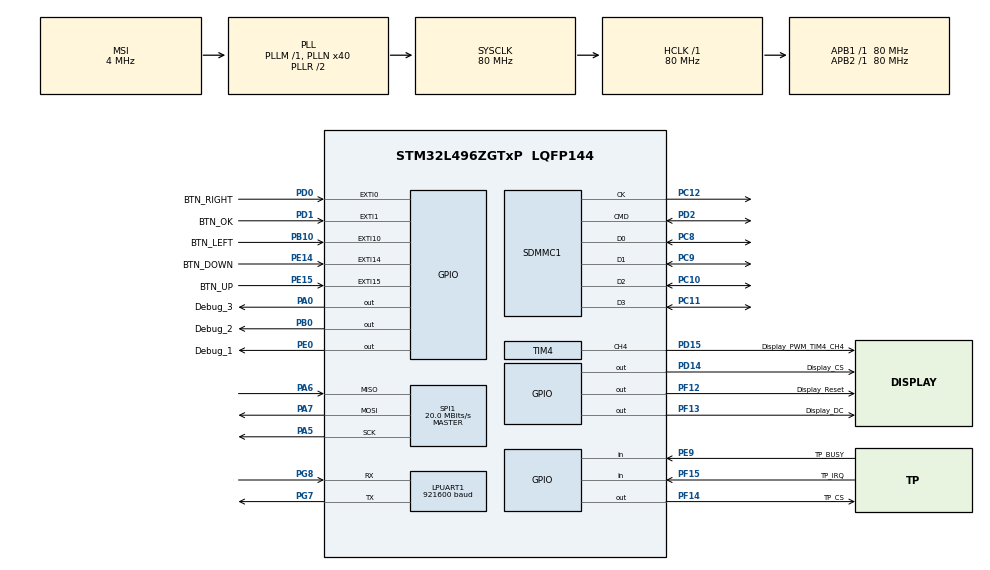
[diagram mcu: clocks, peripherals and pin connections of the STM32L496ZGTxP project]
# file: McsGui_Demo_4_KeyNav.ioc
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ADC1.Channel-0\#ChannelRegularConversion=ADC_CHANNEL_VREFINT
ADC1.Channel-1\#ChannelRegularConversion=ADC_CHANNEL_TEMPSENSOR
ADC1.ContinuousConvMode=DISABLE
ADC1.DMAContinuousRequests=ENABLE
ADC1.ExternalTrigConv=ADC_EXTERNALTRIG_T3_TRGO
ADC1.NbrOfConversion=2
ADC1.NbrOfConversionFlag=1
ADC1.OffsetNumber-0\#ChannelRegularConversion=ADC_OFFSET_NONE
ADC1.OffsetNumber-1\#ChannelRegularConversion=ADC_OFFSET_NONE
ADC1.Overrun=ADC_OVR_DATA_OVERWRITTEN
ADC1.Rank-0\#ChannelRegularConversion=1
ADC1.Rank-1\#ChannelRegularConversion=2
ADC1.SamplingTime-0\#ChannelRegularConversion=ADC_SAMPLETIME_640CYCLES_5
ADC1.SamplingTime-1\#ChannelRegularConversion=ADC_SAMPLETIME_640CYCLES_5
ADC1.master=1
CRC.InputDataInversionMode=CRC_INPUTDATA_INVERSION_BYTE
CRC.OutputDataInversionMode=CRC_OUTPUTDATA_INVERSION_ENABLE
Dma.ADC1.0.Direction=DMA_PERIPH_TO_MEMORY
Dma.ADC1.0.Instance=DMA1_Channel1
Dma.ADC1.0.MemDataAlignment=DMA_MDATAALIGN_HALFWORD
Dma.ADC1.0.MemInc=DMA_MINC_ENABLE
Dma.ADC1.0.Mode=DMA_CIRCULAR
Dma.ADC1.0.PeriphDataAlignment=DMA_PDATAALIGN_HALFWORD
Dma.ADC1.0.PeriphInc=DMA_PINC_DISABLE
Dma.ADC1.0.Priority=DMA_PRIORITY_LOW
Dma.LPUART_RX.2.Direction=DMA_PERIPH_TO_MEMORY
Dma.LPUART_RX.2.Instance=DMA2_Channel7
Dma.LPUART_RX.2.MemDataAlignment=DMA_MDATAALIGN_BYTE
Dma.LPUART_RX.2.MemInc=DMA_MINC_ENABLE
Dma.LPUART_RX.2.Mode=DMA_NORMAL
Dma.LPUART_RX.2.PeriphDataAlignment=DMA_PDATAALIGN_BYTE
Dma.LPUART_RX.2.PeriphInc=DMA_PINC_DISABLE
Dma.LPUART_RX.2.Priority=DMA_PRIORITY_LOW
Dma.Request0=ADC1
Dma.Request1=SPI1_TX
Dma.Request2=LPUART_RX
Dma.Request3=SDMMC1_RX
Dma.SDMMC1_RX.3.Direction=DMA_PERIPH_TO_MEMORY
Dma.SDMMC1_RX.3.Instance=DMA2_Channel4
Dma.SDMMC1_RX.3.MemDataAlignment=DMA_MDATAALIGN_WORD
Dma.SDMMC1_RX.3.MemInc=DMA_MINC_ENABLE
Dma.SDMMC1_RX.3.Mode=DMA_NORMAL
Dma.SDMMC1_RX.3.PeriphDataAlignment=DMA_PDATAALIGN_WORD
Dma.SDMMC1_RX.3.PeriphInc=DMA_PINC_DISABLE
Dma.SDMMC1_RX.3.Priority=DMA_PRIORITY_LOW
Dma.SPI1_TX.1.Direction=DMA_MEMORY_TO_PERIPH
Dma.SPI1_TX.1.Instance=DMA1_Channel3
Dma.SPI1_TX.1.MemDataAlignment=DMA_MDATAALIGN_BYTE
Dma.SPI1_TX.1.MemInc=DMA_MINC_ENABLE
Dma.SPI1_TX.1.Mode=DMA_NORMAL
Dma.SPI1_TX.1.PeriphDataAlignment=DMA_PDATAALIGN_BYTE
Dma.SPI1_TX.1.PeriphInc=DMA_PINC_DISABLE
Dma.SPI1_TX.1.Priority=DMA_PRIORITY_LOW
LPUART1.BaudRate=921600
LPUART1.MSBFirstParam=UART_ADVFEATURE_MSBFIRST_DISABLE
LPUART1.WordLength=UART_WORDLENGTH_8B
Mcu.Family=STM32L4
Mcu.Name=STM32L496ZGTxP
Mcu.Package=LQFP144
NVIC.ADC1_2_IRQn=true\:0\:0\:false\:false\:true\:true\:true\:true
NVIC.DMA1_Channel1_IRQn=true\:0\:0\:false\:false\:true\:false\:true\:true
NVIC.DMA1_Channel3_IRQn=true\:0\:0\:false\:false\:true\:false\:true\:true
NVIC.DMA2_Channel4_IRQn=true\:0\:0\:false\:false\:true\:false\:true\:true
NVIC.DMA2_Channel7_IRQn=true\:0\:0\:false\:false\:true\:false\:true\:true
NVIC.PriorityGroup=NVIC_PRIORITYGROUP_4
NVIC.SDMMC1_IRQn=true\:0\:0\:false\:false\:true\:true\:true\:true
NVIC.SPI1_IRQn=true\:0\:0\:false\:false\:true\:true\:true\:true
PA0.GPIO_Label=Debug_3
PA0.Signal=GPIO_Output
PA13\ (JTMS/SWDIO).Mode=Trace_Asynchronous_SW
PA13\ (JTMS/SWDIO).Signal=SYS_JTMS-SWDIO
PA14\ (JTCK/SWCLK).Mode=Trace_Asynchronous_SW
PA14\ (JTCK/SWCLK).Signal=SYS_JTCK-SWCLK
PA5.Mode=Full_Duplex_Master
PA5.Signal=SPI1_SCK
PA6.Mode=Full_Duplex_Master
PA6.Signal=SPI1_MISO
PA7.Mode=Full_Duplex_Master
PA7.Signal=SPI1_MOSI
PB0.GPIO_Label=Debug_2
PB0.Signal=GPIO_Output
PB10.GPIO_Label=BTN_LEFT
PB10.GPIO_ModeDefaultEXTI=GPIO_MODE_IT_FALLING
PB10.GPIO_PuPd=GPIO_PULLUP
PB10.Signal=GPXTI10
PB3\ (JTDO/TRACESWO).Mode=Trace_Asynchronous_SW
PB3\ (JTDO/TRACESWO).Signal=SYS_JTDO-SWO
PC10.Mode=SD_4_bits_Wide_bus
PC10.Signal=SDMMC1_D2
PC11.Mode=SD_4_bits_Wide_bus
PC11.Signal=SDMMC1_D3
PC12.Mode=SD_4_bits_Wide_bus
PC12.Signal=SDMMC1_CK
PC14-OSC32_IN\ (PC14).Mode=LSE-External-Oscillator
PC14-OSC32_IN\ (PC14).Signal=RCC_OSC32_IN
PC15-OSC32_OUT\ (PC15).Mode=LSE-External-Oscillator
PC15-OSC32_OUT\ (PC15).Signal=RCC_OSC32_OUT
PC8.Mode=SD_4_bits_Wide_bus
PC8.Signal=SDMMC1_D0
PC9.Mode=SD_4_bits_Wide_bus
PC9.Signal=SDMMC1_D1
PD0.GPIO_Label=BTN_RIGHT
PD0.GPIO_ModeDefaultEXTI=GPIO_MODE_IT_FALLING
PD0.GPIO_PuPd=GPIO_PULLUP
PD0.Signal=GPXTI0
PD1.GPIO_Label=BTN_OK
PD1.GPIO_ModeDefaultEXTI=GPIO_MODE_IT_FALLING
PD1.GPIO_PuPd=GPIO_PULLUP
PD1.Signal=GPXTI1
PD14.GPIO_Label=Display_CS
PD14.Signal=GPIO_Output
PD15.GPIO_Label=Display_PWM_TIM4_CH4
PD15.Signal=S_TIM4_CH4
PD2.Mode=SD_4_bits_Wide_bus
PD2.Signal=SDMMC1_CMD
PE0.GPIO_Label=Debug_1
PE0.Signal=GPIO_Output
PE14.GPIO_Label=BTN_DOWN
PE14.GPIO_ModeDefaultEXTI=GPIO_MODE_IT_FALLING
PE14.GPIO_PuPd=GPIO_PULLUP
PE14.Signal=GPXTI14
PE15.GPIO_Label=BTN_UP
PE15.GPIO_ModeDefaultEXTI=GPIO_MODE_IT_FALLING
PE15.GPIO_PuPd=GPIO_PULLUP
PE15.Signal=GPXTI15
PE9.GPIO_Label=TP_BUSY
PE9.Signal=GPIO_Input
PF12.GPIO_Label=Display_Reset
PF12.Signal=GPIO_Output
PF13.GPIO_Label=Display_DC
PF13.Signal=GPIO_Output
PF14.GPIO_Label=TP_CS
PF14.Signal=GPIO_Output
PF15.GPIO_Label=TP_IRQ
PF15.Signal=GPIO_Input
PG7.Mode=Asynchronous
PG7.Signal=LPUART1_TX
PG8.Mode=Asynchronous
PG8.Signal=LPUART1_RX
ProjectManager.HeapSize=0x200
ProjectManager.StackSize=0x400
ProjectManager.TargetToolchain=STM32CubeIDE
RCC.ADCFreq_Value=48000000
RCC.AHBFreq_Value=80000000
RCC.APB1Freq_Value=80000000
RCC.APB1TimFreq_Value=80000000
RCC.APB2Freq_Value=80000000
RCC.APB2TimFreq_Value=80000000
RCC.CortexFreq_Value=80000000
RCC.HCLKFreq_Value=80000000
RCC.HSE_VALUE=8000000
RCC.HSI48_VALUE=48000000
RCC.HSI_VALUE=16000000
RCC.MSI_VALUE=4000000
RCC.PLLN=40
RCC.PLLSAI1N=24
RCC.RTCClockSelection=RCC_RTCCLKSOURCE_LSE
RCC.SYSCLKFreq_VALUE=80000000
RCC.SYSCLKSource=RCC_SYSCLKSOURCE_PLLCLK
RCC.USBFreq_Value=48000000
RCC.VCOOutputFreq_Value=160000000
RTC.Alarm-Alarm\ A=RTC_ALARM_A
RTC.Year=24
SDMMC1.ClockDiv=2
SDMMC1.ClockPowerSave=SDMMC_CLOCK_POWER_SAVE_ENABLE
SDMMC1.HardwareFlowControl=SDMMC_HARDWARE_FLOW_CONTROL_ENABLE
SH.S_TIM4_CH4.0=TIM4_CH4,PWM Generation4 CH4
SPI1.BaudRatePrescaler=SPI_BAUDRATEPRESCALER_4
SPI1.CalculateBaudRate=20.0 MBits/s
SPI1.DataSize=SPI_DATASIZE_8BIT
SPI1.Direction=SPI_DIRECTION_2LINES
SPI1.Mode=SPI_MODE_MASTER
SPI1.VirtualType=VM_MASTER
TIM3.Period=62499
TIM3.Prescaler=1279
TIM3.TIM_MasterOutputTrigger=TIM_TRGO_UPDATE
TIM4.Channel-PWM\ Generation4\ CH4=TIM_CHANNEL_4
TIM4.ClearInputSource=TIM_CLEARINPUTSOURCE_OCREFCLR
TIM4.Period=9500
TIM4.Prescaler=16
TIM4.Pulse-PWM\ Generation4\ CH4=100
VP_ADC1_TempSens_Input.Mode=IN-TempSens
VP_ADC1_Vref_Input.Mode=IN-Vrefint
VP_CRC_VS_CRC.Mode=CRC_Activate
VP_RTC_VS_RTC_Activate.Mode=RTC_Enabled
VP_RTC_VS_RTC_Alarm_A_Intern.Mode=Alarm A
VP_RTC_VS_RTC_Calendar.Mode=RTC_Calendar
VP_TIM3_VS_ClockSourceINT.Mode=Internal
VREF+.Mode=InternalMode
VREF+.Signal=VREFBUF_OUT
board=custom

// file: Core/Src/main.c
/* USER CODE BEGIN Header */
/**
  ******************************************************************************
  * @file           : main.c
  * @brief          : Main program body
  ******************************************************************************
  * @attention
  *
  * Copyright (c) 2024 STMicroelectronics.
  * All rights reserved.
  *
  * This software is licensed under terms that can be found in the LICENSE file
  * in the root directory of this software component.
  * If no LICENSE file comes with this software, it is provided AS-IS.
  *
  ******************************************************************************
  */
/* USER CODE END Header */
#include "main.h"

/* USER CODE BEGIN Includes */
#include <time.h>

#include "gui_app.h"
/* USER CODE END Includes */

/* USER CODE BEGIN PD */
#define USE_CUSTOM_SD_INIT

#define VREFINT 1.21f /* Internal voltage reference value (V) */
#define ADCMAX 4095.0f /* (2^12)-1 Maximum ADC value */

#define V25 0.76f /* V25 (V) */
#define AVG_SLOPE 0.0025f /* Average slope (V/deg) */
/* USER CODE END PD */

ADC_HandleTypeDef hadc1;
DMA_HandleTypeDef hdma_adc1;

CRC_HandleTypeDef hcrc;

UART_HandleTypeDef hlpuart1;
DMA_HandleTypeDef hdma_lpuart_rx;

RTC_HandleTypeDef hrtc;

SD_HandleTypeDef hsd1;
DMA_HandleTypeDef hdma_sdmmc1_rx;

SPI_HandleTypeDef hspi1;
DMA_HandleTypeDef hdma_spi1_tx;

TIM_HandleTypeDef htim3;
TIM_HandleTypeDef htim4;

/* USER CODE BEGIN PV */
SPI_HandleTypeDef *g_p_displaySPI = &hspi1;
TIM_HandleTypeDef *g_p_displayBacklightPWMTimer = &htim4;
/* USER CODE END PV */

void SystemClock_Config(void);
void PeriphCommonClock_Config(void);
static void MX_GPIO_Init(void);
static void MX_DMA_Init(void);
static void MX_LPUART1_UART_Init(void);
static void MX_CRC_Init(void);
static void MX_ADC1_Init(void);
static void MX_TIM3_Init(void);
static void MX_RTC_Init(void);
static void MX_SPI1_Init(void);
static void MX_TIM4_Init(void);
static void MX_SDMMC1_SD_Init(void);

/* USER CODE BEGIN 0 */
static volatile uint16_t adcBuffer[2];
volatile bool m_adcReady = false;
volatile bool m_updateDateTime = false;
/* USER CODE END 0 */

int main(void)
{

  /* MCU Configuration--------------------------------------------------------*/

  /* Reset of all peripherals, Initializes the Flash interface and the Systick. */
  HAL_Init();

  /* Configure the system clock */
  SystemClock_Config();

  /* Configure the peripherals common clocks */
  PeriphCommonClock_Config();

  /* Initialize all configured peripherals */
  MX_GPIO_Init();
  MX_DMA_Init();
  MX_LPUART1_UART_Init();
  MX_CRC_Init();
  MX_ADC1_Init();
  MX_TIM3_Init();
  MX_RTC_Init();
  MX_SPI1_Init();
  MX_TIM4_Init();
  MX_SDMMC1_SD_Init();
  /* USER CODE BEGIN 2 */
  HAL_ADCEx_Calibration_Start(&hadc1, ADC_SINGLE_ENDED);
  HAL_ADC_Start_DMA(&hadc1, (uint32_t *)adcBuffer, 2);
  HAL_TIM_Base_Start(&htim3);

  gui_app_start();

  /* USER CODE END 2 */

  /* Infinite loop */
  while (1)
  {

  }
}

void SystemClock_Config(void)
{
  RCC_OscInitTypeDef RCC_OscInitStruct = {0};
  RCC_ClkInitTypeDef RCC_ClkInitStruct = {0};

  /** Configure the main internal regulator output voltage
  */
  if (HAL_PWREx_ControlVoltageScaling(PWR_REGULATOR_VOLTAGE_SCALE1) != HAL_OK)
  {
    Error_Handler();
  }

  /** Configure LSE Drive Capability
  */
  HAL_PWR_EnableBkUpAccess();
  __HAL_RCC_LSEDRIVE_CONFIG(RCC_LSEDRIVE_LOW);

  /** Initializes the RCC Oscillators according to the specified parameters
  * in the RCC_OscInitTypeDef structure.
  */
  RCC_OscInitStruct.OscillatorType = RCC_OSCILLATORTYPE_LSE|RCC_OSCILLATORTYPE_MSI;
  RCC_OscInitStruct.LSEState = RCC_LSE_ON;
  RCC_OscInitStruct.MSIState = RCC_MSI_ON;
  RCC_OscInitStruct.MSICalibrationValue = 0;
  RCC_OscInitStruct.MSIClockRange = RCC_MSIRANGE_6;
  RCC_OscInitStruct.PLL.PLLState = RCC_PLL_ON;
  RCC_OscInitStruct.PLL.PLLSource = RCC_PLLSOURCE_MSI;
  RCC_OscInitStruct.PLL.PLLM = 1;
  RCC_OscInitStruct.PLL.PLLN = 40;
  RCC_OscInitStruct.PLL.PLLP = RCC_PLLP_DIV2;
  RCC_OscInitStruct.PLL.PLLQ = RCC_PLLQ_DIV2;
  RCC_OscInitStruct.PLL.PLLR = RCC_PLLR_DIV2;
  if (HAL_RCC_OscConfig(&RCC_OscInitStruct) != HAL_OK)
  {
    Error_Handler();
  }

  /** Initializes the CPU, AHB and APB buses clocks
  */
  RCC_ClkInitStruct.ClockType = RCC_CLOCKTYPE_HCLK|RCC_CLOCKTYPE_SYSCLK
                              |RCC_CLOCKTYPE_PCLK1|RCC_CLOCKTYPE_PCLK2;
  RCC_ClkInitStruct.SYSCLKSource = RCC_SYSCLKSOURCE_PLLCLK;
  RCC_ClkInitStruct.AHBCLKDivider = RCC_SYSCLK_DIV1;
  RCC_ClkInitStruct.APB1CLKDivider = RCC_HCLK_DIV1;
  RCC_ClkInitStruct.APB2CLKDivider = RCC_HCLK_DIV1;

  if (HAL_RCC_ClockConfig(&RCC_ClkInitStruct, FLASH_LATENCY_4) != HAL_OK)
  {
    Error_Handler();
  }
}

void PeriphCommonClock_Config(void)
{
  RCC_PeriphCLKInitTypeDef PeriphClkInit = {0};

  /** Initializes the peripherals clock
  */
  PeriphClkInit.PeriphClockSelection = RCC_PERIPHCLK_SDMMC1|RCC_PERIPHCLK_ADC;
  PeriphClkInit.AdcClockSelection = RCC_ADCCLKSOURCE_PLLSAI1;
  PeriphClkInit.Sdmmc1ClockSelection = RCC_SDMMC1CLKSOURCE_PLLSAI1;
  PeriphClkInit.PLLSAI1.PLLSAI1Source = RCC_PLLSOURCE_MSI;
  PeriphClkInit.PLLSAI1.PLLSAI1M = 1;
  PeriphClkInit.PLLSAI1.PLLSAI1N = 24;
  PeriphClkInit.PLLSAI1.PLLSAI1P = RCC_PLLP_DIV2;
  PeriphClkInit.PLLSAI1.PLLSAI1Q = RCC_PLLQ_DIV2;
  PeriphClkInit.PLLSAI1.PLLSAI1R = RCC_PLLR_DIV2;
  PeriphClkInit.PLLSAI1.PLLSAI1ClockOut = RCC_PLLSAI1_48M2CLK|RCC_PLLSAI1_ADC1CLK;
  if (HAL_RCCEx_PeriphCLKConfig(&PeriphClkInit) != HAL_OK)
  {
    Error_Handler();
  }
}

static void MX_ADC1_Init(void)
{

  ADC_MultiModeTypeDef multimode = {0};
  ADC_ChannelConfTypeDef sConfig = {0};

  /** Common config
  */
  hadc1.Instance = ADC1;
  hadc1.Init.ClockPrescaler = ADC_CLOCK_ASYNC_DIV1;
  hadc1.Init.Resolution = ADC_RESOLUTION_12B;
  hadc1.Init.DataAlign = ADC_DATAALIGN_RIGHT;
  hadc1.Init.ScanConvMode = ADC_SCAN_ENABLE;
  hadc1.Init.EOCSelection = ADC_EOC_SINGLE_CONV;
  hadc1.Init.LowPowerAutoWait = DISABLE;
  hadc1.Init.ContinuousConvMode = DISABLE;
  hadc1.Init.NbrOfConversion = 2;
  hadc1.Init.DiscontinuousConvMode = DISABLE;
  hadc1.Init.ExternalTrigConv = ADC_EXTERNALTRIG_T3_TRGO;
  hadc1.Init.ExternalTrigConvEdge = ADC_EXTERNALTRIGCONVEDGE_RISING;
  hadc1.Init.DMAContinuousRequests = ENABLE;
  hadc1.Init.Overrun = ADC_OVR_DATA_OVERWRITTEN;
  hadc1.Init.OversamplingMode = DISABLE;
  if (HAL_ADC_Init(&hadc1) != HAL_OK)
  {
    Error_Handler();
  }

  /** Configure the ADC multi-mode
  */
  multimode.Mode = ADC_MODE_INDEPENDENT;
  if (HAL_ADCEx_MultiModeConfigChannel(&hadc1, &multimode) != HAL_OK)
  {
    Error_Handler();
  }

  /** Configure Regular Channel
  */
  sConfig.Channel = ADC_CHANNEL_VREFINT;
  sConfig.Rank = ADC_REGULAR_RANK_1;
  sConfig.SamplingTime = ADC_SAMPLETIME_640CYCLES_5;
  sConfig.SingleDiff = ADC_SINGLE_ENDED;
  sConfig.OffsetNumber = ADC_OFFSET_NONE;
  sConfig.Offset = 0;
  if (HAL_ADC_ConfigChannel(&hadc1, &sConfig) != HAL_OK)
  {
    Error_Handler();
  }

  /** Configure Regular Channel
  */
  sConfig.Channel = ADC_CHANNEL_TEMPSENSOR;
  sConfig.Rank = ADC_REGULAR_RANK_2;
  if (HAL_ADC_ConfigChannel(&hadc1, &sConfig) != HAL_OK)
  {
    Error_Handler();
  }

}

static void MX_CRC_Init(void)
{

  hcrc.Instance = CRC;
  hcrc.Init.DefaultPolynomialUse = DEFAULT_POLYNOMIAL_ENABLE;
  hcrc.Init.DefaultInitValueUse = DEFAULT_INIT_VALUE_ENABLE;
  hcrc.Init.InputDataInversionMode = CRC_INPUTDATA_INVERSION_BYTE;
  hcrc.Init.OutputDataInversionMode = CRC_OUTPUTDATA_INVERSION_ENABLE;
  hcrc.InputDataFormat = CRC_INPUTDATA_FORMAT_BYTES;
  if (HAL_CRC_Init(&hcrc) != HAL_OK)
  {
    Error_Handler();
  }

}

static void MX_LPUART1_UART_Init(void)
{

  hlpuart1.Instance = LPUART1;
  hlpuart1.Init.BaudRate = 921600;
  hlpuart1.Init.WordLength = UART_WORDLENGTH_8B;
  hlpuart1.Init.StopBits = UART_STOPBITS_1;
  hlpuart1.Init.Parity = UART_PARITY_NONE;
  hlpuart1.Init.Mode = UART_MODE_TX_RX;
  hlpuart1.Init.HwFlowCtl = UART_HWCONTROL_NONE;
  hlpuart1.Init.OneBitSampling = UART_ONE_BIT_SAMPLE_DISABLE;
  hlpuart1.AdvancedInit.AdvFeatureInit = UART_ADVFEATURE_NO_INIT;
  if (HAL_UART_Init(&hlpuart1) != HAL_OK)
  {
    Error_Handler();
  }

}

static void MX_RTC_Init(void)
{

  RTC_TimeTypeDef sTime = {0};
  RTC_DateTypeDef sDate = {0};
  RTC_AlarmTypeDef sAlarm = {0};

  /** Initialize RTC Only
  */
  hrtc.Instance = RTC;
  hrtc.Init.HourFormat = RTC_HOURFORMAT_24;
  hrtc.Init.AsynchPrediv = 127;
  hrtc.Init.SynchPrediv = 255;
  hrtc.Init.OutPut = RTC_OUTPUT_DISABLE;
  hrtc.Init.OutPutRemap = RTC_OUTPUT_REMAP_NONE;
  hrtc.Init.OutPutPolarity = RTC_OUTPUT_POLARITY_HIGH;
  hrtc.Init.OutPutType = RTC_OUTPUT_TYPE_OPENDRAIN;
  if (HAL_RTC_Init(&hrtc) != HAL_OK)
  {
    Error_Handler();
  }

  /** Initialize RTC and set the Time and Date
  */
  sTime.Hours = 0x0;
  sTime.Minutes = 0x0;
  sTime.Seconds = 0x0;
  sTime.DayLightSaving = RTC_DAYLIGHTSAVING_NONE;
  sTime.StoreOperation = RTC_STOREOPERATION_RESET;
  if (HAL_RTC_SetTime(&hrtc, &sTime, RTC_FORMAT_BCD) != HAL_OK)
  {
    Error_Handler();
  }
  sDate.WeekDay = RTC_WEEKDAY_MONDAY;
  sDate.Month = RTC_MONTH_JANUARY;
  sDate.Date = 0x1;
  sDate.Year = 0x24;

  if (HAL_RTC_SetDate(&hrtc, &sDate, RTC_FORMAT_BCD) != HAL_OK)
  {
    Error_Handler();
  }

  /** Enable the Alarm A
  */
  sAlarm.AlarmTime.Hours = 0x0;
  sAlarm.AlarmTime.Minutes = 0x0;
  sAlarm.AlarmTime.Seconds = 0x0;
  sAlarm.AlarmTime.SubSeconds = 0x0;
  sAlarm.AlarmTime.DayLightSaving = RTC_DAYLIGHTSAVING_NONE;
  sAlarm.AlarmTime.StoreOperation = RTC_STOREOPERATION_RESET;
  sAlarm.AlarmMask = RTC_ALARMMASK_NONE;
  sAlarm.AlarmSubSecondMask = RTC_ALARMSUBSECONDMASK_ALL;
  sAlarm.AlarmDateWeekDaySel = RTC_ALARMDATEWEEKDAYSEL_DATE;
  sAlarm.AlarmDateWeekDay = 0x1;
  sAlarm.Alarm = RTC_ALARM_A;
  if (HAL_RTC_SetAlarm(&hrtc, &sAlarm, RTC_FORMAT_BCD) != HAL_OK)
  {
    Error_Handler();
  }

}

static void MX_SDMMC1_SD_Init(void)
{

  /* USER CODE BEGIN SDMMC1_Init 0 */
#ifndef USE_DISPLAY_AND_SD_CARD
  return;
#endif /* USE_DISPLAY_AND_SD_CARD */
  /* USER CODE END SDMMC1_Init 0 */

  /* USER CODE BEGIN SDMMC1_Init 1 */
#ifdef USE_CUSTOM_SD_INIT

    hsd1.Instance = SDMMC1;
    hsd1.Init.ClockEdge = SDMMC_CLOCK_EDGE_RISING;
    hsd1.Init.ClockBypass = SDMMC_CLOCK_BYPASS_DISABLE;
    hsd1.Init.ClockPowerSave = SDMMC_CLOCK_POWER_SAVE_ENABLE;
    hsd1.Init.BusWide = SDMMC_BUS_WIDE_1B;
    hsd1.Init.HardwareFlowControl = SDMMC_HARDWARE_FLOW_CONTROL_ENABLE;
    hsd1.Init.ClockDiv = 0;
    if (HAL_SD_Init(&hsd1) != HAL_OK)
    {
      Error_Handler();
    }
    if (HAL_SD_ConfigWideBusOperation(&hsd1, SDMMC_BUS_WIDE_4B) != HAL_OK)
    {
      Error_Handler();
    }

#else
  /* USER CODE END SDMMC1_Init 1 */
  hsd1.Instance = SDMMC1;
  hsd1.Init.ClockEdge = SDMMC_CLOCK_EDGE_RISING;
  hsd1.Init.ClockBypass = SDMMC_CLOCK_BYPASS_DISABLE;
  hsd1.Init.ClockPowerSave = SDMMC_CLOCK_POWER_SAVE_ENABLE;
  hsd1.Init.BusWide = SDMMC_BUS_WIDE_4B;
  hsd1.Init.HardwareFlowControl = SDMMC_HARDWARE_FLOW_CONTROL_ENABLE;
  hsd1.Init.ClockDiv = 2;
  if (HAL_SD_Init(&hsd1) != HAL_OK)
  {
    Error_Handler();
  }
  if (HAL_SD_ConfigWideBusOperation(&hsd1, SDMMC_BUS_WIDE_4B) != HAL_OK)
  {
    Error_Handler();
  }
  /* USER CODE BEGIN SDMMC1_Init 2 */
#endif /* USE_CUSTOM_SD_INIT */
  /* USER CODE END SDMMC1_Init 2 */

}

static void MX_SPI1_Init(void)
{

  /* SPI1 parameter configuration*/
  hspi1.Instance = SPI1;
  hspi1.Init.Mode = SPI_MODE_MASTER;
  hspi1.Init.Direction = SPI_DIRECTION_2LINES;
  hspi1.Init.DataSize = SPI_DATASIZE_8BIT;
  hspi1.Init.CLKPolarity = SPI_POLARITY_LOW;
  hspi1.Init.CLKPhase = SPI_PHASE_1EDGE;
  hspi1.Init.NSS = SPI_NSS_SOFT;
  hspi1.Init.BaudRatePrescaler = SPI_BAUDRATEPRESCALER_4;
  hspi1.Init.FirstBit = SPI_FIRSTBIT_MSB;
  hspi1.Init.TIMode = SPI_TIMODE_DISABLE;
  hspi1.Init.CRCCalculation = SPI_CRCCALCULATION_DISABLE;
  hspi1.Init.CRCPolynomial = 7;
  hspi1.Init.CRCLength = SPI_CRC_LENGTH_DATASIZE;
  hspi1.Init.NSSPMode = SPI_NSS_PULSE_ENABLE;
  if (HAL_SPI_Init(&hspi1) != HAL_OK)
  {
    Error_Handler();
  }

}

static void MX_TIM3_Init(void)
{

  TIM_ClockConfigTypeDef sClockSourceConfig = {0};
  TIM_MasterConfigTypeDef sMasterConfig = {0};

  htim3.Instance = TIM3;
  htim3.Init.Prescaler = 1279;
  htim3.Init.CounterMode = TIM_COUNTERMODE_UP;
  htim3.Init.Period = 62499;
  htim3.Init.ClockDivision = TIM_CLOCKDIVISION_DIV1;
  htim3.Init.AutoReloadPreload = TIM_AUTORELOAD_PRELOAD_DISABLE;
  if (HAL_TIM_Base_Init(&htim3) != HAL_OK)
  {
    Error_Handler();
  }
  sClockSourceConfig.ClockSource = TIM_CLOCKSOURCE_INTERNAL;
  if (HAL_TIM_ConfigClockSource(&htim3, &sClockSourceConfig) != HAL_OK)
  {
    Error_Handler();
  }
  sMasterConfig.MasterOutputTrigger = TIM_TRGO_UPDATE;
  sMasterConfig.MasterSlaveMode = TIM_MASTERSLAVEMODE_DISABLE;
  if (HAL_TIMEx_MasterConfigSynchronization(&htim3, &sMasterConfig) != HAL_OK)
  {
    Error_Handler();
  }

}

static void MX_TIM4_Init(void)
{

  TIM_MasterConfigTypeDef sMasterConfig = {0};
  TIM_OC_InitTypeDef sConfigOC = {0};

  htim4.Instance = TIM4;
  htim4.Init.Prescaler = 16;
  htim4.Init.CounterMode = TIM_COUNTERMODE_UP;
  htim4.Init.Period = 9500;
  htim4.Init.ClockDivision = TIM_CLOCKDIVISION_DIV1;
  htim4.Init.AutoReloadPreload = TIM_AUTORELOAD_PRELOAD_DISABLE;
  if (HAL_TIM_PWM_Init(&htim4) != HAL_OK)
  {
    Error_Handler();
  }
  sMasterConfig.MasterOutputTrigger = TIM_TRGO_RESET;
  sMasterConfig.MasterSlaveMode = TIM_MASTERSLAVEMODE_DISABLE;
  if (HAL_TIMEx_MasterConfigSynchronization(&htim4, &sMasterConfig) != HAL_OK)
  {
    Error_Handler();
  }
  sConfigOC.OCMode = TIM_OCMODE_PWM1;
  sConfigOC.Pulse = 100;
  sConfigOC.OCPolarity = TIM_OCPOLARITY_HIGH;
  sConfigOC.OCFastMode = TIM_OCFAST_DISABLE;
  if (HAL_TIM_PWM_ConfigChannel(&htim4, &sConfigOC, TIM_CHANNEL_4) != HAL_OK)
  {
    Error_Handler();
  }
  HAL_TIM_MspPostInit(&htim4);

}

static void MX_DMA_Init(void)
{

  /* DMA controller clock enable */
  __HAL_RCC_DMA1_CLK_ENABLE();
  __HAL_RCC_DMA2_CLK_ENABLE();

  /* DMA interrupt init */
  /* DMA1_Channel1_IRQn interrupt configuration */
  HAL_NVIC_SetPriority(DMA1_Channel1_IRQn, 0, 0);
  HAL_NVIC_EnableIRQ(DMA1_Channel1_IRQn);
  /* DMA1_Channel3_IRQn interrupt configuration */
  HAL_NVIC_SetPriority(DMA1_Channel3_IRQn, 0, 0);
  HAL_NVIC_EnableIRQ(DMA1_Channel3_IRQn);
  /* DMA2_Channel4_IRQn interrupt configuration */
  HAL_NVIC_SetPriority(DMA2_Channel4_IRQn, 0, 0);
  HAL_NVIC_EnableIRQ(DMA2_Channel4_IRQn);
  /* DMA2_Channel7_IRQn interrupt configuration */
  HAL_NVIC_SetPriority(DMA2_Channel7_IRQn, 0, 0);
  HAL_NVIC_EnableIRQ(DMA2_Channel7_IRQn);

}

static void MX_GPIO_Init(void)
{
  GPIO_InitTypeDef GPIO_InitStruct = {0};

  /* GPIO Ports Clock Enable */
  __HAL_RCC_GPIOC_CLK_ENABLE();
  __HAL_RCC_GPIOA_CLK_ENABLE();
  __HAL_RCC_GPIOB_CLK_ENABLE();
  __HAL_RCC_GPIOF_CLK_ENABLE();
  __HAL_RCC_GPIOE_CLK_ENABLE();
  __HAL_RCC_GPIOD_CLK_ENABLE();
  __HAL_RCC_GPIOG_CLK_ENABLE();
  HAL_PWREx_EnableVddIO2();

  /*Configure GPIO pin Output Level */
  HAL_GPIO_WritePin(Debug_3_GPIO_Port, Debug_3_Pin, GPIO_PIN_RESET);

  /*Configure GPIO pin Output Level */
  HAL_GPIO_WritePin(Debug_2_GPIO_Port, Debug_2_Pin, GPIO_PIN_RESET);

  /*Configure GPIO pin Output Level */
  HAL_GPIO_WritePin(GPIOF, Display_Reset_Pin|Display_DC_Pin|TP_CS_Pin, GPIO_PIN_RESET);

  /*Configure GPIO pin Output Level */
  HAL_GPIO_WritePin(Display_CS_GPIO_Port, Display_CS_Pin, GPIO_PIN_RESET);

  /*Configure GPIO pin Output Level */
  HAL_GPIO_WritePin(Debug_1_GPIO_Port, Debug_1_Pin, GPIO_PIN_RESET);

  /*Configure GPIO pin : Debug_3_Pin */
  GPIO_InitStruct.Pin = Debug_3_Pin;
  GPIO_InitStruct.Mode = GPIO_MODE_OUTPUT_PP;
  GPIO_InitStruct.Pull = GPIO_NOPULL;
  GPIO_InitStruct.Speed = GPIO_SPEED_FREQ_LOW;
  HAL_GPIO_Init(Debug_3_GPIO_Port, &GPIO_InitStruct);

  /*Configure GPIO pin : Debug_2_Pin */
  GPIO_InitStruct.Pin = Debug_2_Pin;
  GPIO_InitStruct.Mode = GPIO_MODE_OUTPUT_PP;
  GPIO_InitStruct.Pull = GPIO_NOPULL;
  GPIO_InitStruct.Speed = GPIO_SPEED_FREQ_LOW;
  HAL_GPIO_Init(Debug_2_GPIO_Port, &GPIO_InitStruct);

  /*Configure GPIO pins : Display_Reset_Pin Display_DC_Pin TP_CS_Pin */
  GPIO_InitStruct.Pin = Display_Reset_Pin|Display_DC_Pin|TP_CS_Pin;
  GPIO_InitStruct.Mode = GPIO_MODE_OUTPUT_PP;
  GPIO_InitStruct.Pull = GPIO_NOPULL;
  GPIO_InitStruct.Speed = GPIO_SPEED_FREQ_LOW;
  HAL_GPIO_Init(GPIOF, &GPIO_InitStruct);

  /*Configure GPIO pin : TP_IRQ_Pin */
  GPIO_InitStruct.Pin = TP_IRQ_Pin;
  GPIO_InitStruct.Mode = GPIO_MODE_INPUT;
  GPIO_InitStruct.Pull = GPIO_NOPULL;
  HAL_GPIO_Init(TP_IRQ_GPIO_Port, &GPIO_InitStruct);

  /*Configure GPIO pin : TP_BUSY_Pin */
  GPIO_InitStruct.Pin = TP_BUSY_Pin;
  GPIO_InitStruct.Mode = GPIO_MODE_INPUT;
  GPIO_InitStruct.Pull = GPIO_NOPULL;
  HAL_GPIO_Init(TP_BUSY_GPIO_Port, &GPIO_InitStruct);

  /*Configure GPIO pins : BTN_DOWN_Pin BTN_UP_Pin */
  GPIO_InitStruct.Pin = BTN_DOWN_Pin|BTN_UP_Pin;
  GPIO_InitStruct.Mode = GPIO_MODE_IT_FALLING;
  GPIO_InitStruct.Pull = GPIO_PULLUP;
  HAL_GPIO_Init(GPIOE, &GPIO_InitStruct);

  /*Configure GPIO pin : BTN_LEFT_Pin */
  GPIO_InitStruct.Pin = BTN_LEFT_Pin;
  GPIO_InitStruct.Mode = GPIO_MODE_IT_FALLING;
  GPIO_InitStruct.Pull = GPIO_PULLUP;
  HAL_GPIO_Init(BTN_LEFT_GPIO_Port, &GPIO_InitStruct);

  /*Configure GPIO pin : Display_CS_Pin */
  GPIO_InitStruct.Pin = Display_CS_Pin;
  GPIO_InitStruct.Mode = GPIO_MODE_OUTPUT_PP;
  GPIO_InitStruct.Pull = GPIO_NOPULL;
  GPIO_InitStruct.Speed = GPIO_SPEED_FREQ_LOW;
  HAL_GPIO_Init(Display_CS_GPIO_Port, &GPIO_InitStruct);

  /*Configure GPIO pins : BTN_RIGHT_Pin BTN_OK_Pin */
  GPIO_InitStruct.Pin = BTN_RIGHT_Pin|BTN_OK_Pin;
  GPIO_InitStruct.Mode = GPIO_MODE_IT_FALLING;
  GPIO_InitStruct.Pull = GPIO_PULLUP;
  HAL_GPIO_Init(GPIOD, &GPIO_InitStruct);

  /*Configure GPIO pin : Debug_1_Pin */
  GPIO_InitStruct.Pin = Debug_1_Pin;
  GPIO_InitStruct.Mode = GPIO_MODE_OUTPUT_PP;
  GPIO_InitStruct.Pull = GPIO_NOPULL;
  GPIO_InitStruct.Speed = GPIO_SPEED_FREQ_LOW;
  HAL_GPIO_Init(Debug_1_GPIO_Port, &GPIO_InitStruct);

}

/* USER CODE BEGIN 4 */

void setRTC(const uint32_t timeStamp)
{
    time_t timeStp = timeStamp;
    struct tm *p_dateTime = gmtime(&timeStp);

    if (NULL != p_dateTime)
    {
        RTC_TimeTypeDef sTime = { 0 };
        RTC_DateTypeDef sDate = { 0 };

        sTime.Hours = p_dateTime->tm_hour;
        sTime.Minutes = p_dateTime->tm_min;
        sTime.Seconds = p_dateTime->tm_sec;

        sDate.WeekDay = p_dateTime->tm_wday;
        sDate.Month = p_dateTime->tm_mon;
        sDate.Date = p_dateTime->tm_mday;
        sDate.Year = p_dateTime->tm_year;

        HAL_RTC_SetTime(&hrtc, &sTime, RTC_FORMAT_BIN);
        HAL_RTC_SetDate(&hrtc, &sDate, RTC_FORMAT_BIN);
    }
}

bool updateDateTime(void)
{
    if (m_updateDateTime)
    {
        m_updateDateTime = false;

        return true;
    }

    return false;
}

bool adc1ConvCmplt(void)
{
    if (m_adcReady)
    {
        m_adcReady = false;

        return true;
    }

    return false;
}

float getAdcTemp(void)
{
    const float vrefInt = (VREFINT * ADCMAX) / adcBuffer[0];
    const float tempVoltage = (vrefInt * adcBuffer[1] / ADCMAX);
    const float temp = ((tempVoltage - V25) / AVG_SLOPE) + 25.0f;

    return temp;
}

void HAL_ADC_ConvCpltCallback(ADC_HandleTypeDef *hadc)
{
    if (ADC1 == hadc->Instance)
    {
        m_adcReady = true;
        m_updateDateTime = true;
    }
}

/* USER CODE END 4 */

void Error_Handler(void)
{
  __disable_irq();
  while (1)
  {
  }
}
